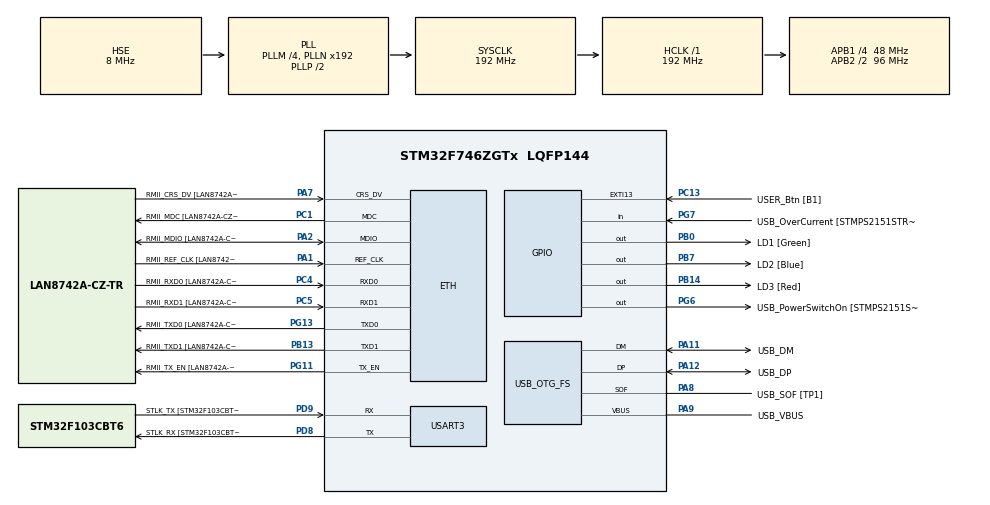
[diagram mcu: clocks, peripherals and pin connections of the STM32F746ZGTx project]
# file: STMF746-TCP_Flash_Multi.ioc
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ETH.MediaInterface=ETH_MEDIA_INTERFACE_RMII
ETH.PHY_Name=LAN8742A_PHY_ADDRESS
ETH.PHY_Value=0
ETH.PhyAddress=0
LWIP.Version=v2.1.2_Cube
Mcu.Family=STM32F7
Mcu.Name=STM32F746ZGTx
Mcu.Package=LQFP144
NVIC.PriorityGroup=NVIC_PRIORITYGROUP_4
PA1.GPIO_Label=RMII_REF_CLK [LAN8742A-CZ-TR_REFCLK0]
PA1.Mode=RMII
PA1.Signal=ETH_REF_CLK
PA10.GPIO_Label=USB_ID
PA10.Signal=USB_OTG_FS_ID
PA11.GPIO_Label=USB_DM
PA11.Mode=Device_Only
PA11.Signal=USB_OTG_FS_DM
PA12.GPIO_Label=USB_DP
PA12.Mode=Device_Only
PA12.Signal=USB_OTG_FS_DP
PA13.GPIO_Label=TMS
PA13.Mode=Serial_Wire
PA13.Signal=SYS_JTMS-SWDIO
PA14.GPIO_Label=TCK
PA14.Mode=Serial_Wire
PA14.Signal=SYS_JTCK-SWCLK
PA2.GPIO_Label=RMII_MDIO [LAN8742A-CZ-TR_MDIO]
PA2.Mode=RMII
PA2.Signal=ETH_MDIO
PA7.GPIO_Label=RMII_CRS_DV [LAN8742A-CZ-TR_CRS_DV]
PA7.Mode=RMII
PA7.Signal=ETH_CRS_DV
PA8.GPIO_Label=USB_SOF [TP1]
PA8.Mode=Activate_SOF_FS
PA8.Signal=USB_OTG_FS_SOF
PA9.GPIO_Label=USB_VBUS
PA9.Mode=Activate_VBUS
PA9.Signal=USB_OTG_FS_VBUS
PB0.GPIO_Label=LD1 [Green]
PB0.Signal=GPIO_Output
PB13.GPIO_Label=RMII_TXD1 [LAN8742A-CZ-TR_TXD1]
PB13.Mode=RMII
PB13.Signal=ETH_TXD1
PB14.GPIO_Label=LD3 [Red]
PB14.Signal=GPIO_Output
PB3.GPIO_Label=SW0
PB3.Signal=SYS_JTDO-SWO
PB7.GPIO_Label=LD2 [Blue]
PB7.Signal=GPIO_Output
PC1.GPIO_Label=RMII_MDC [LAN8742A-CZ-TR_MDC]
PC1.Mode=RMII
PC1.Signal=ETH_MDC
PC13.GPIO_Label=USER_Btn [B1]
PC13.Signal=GPXTI13
PC14/OSC32_IN.Mode=LSE-External-Oscillator
PC14/OSC32_IN.Signal=RCC_OSC32_IN
PC15/OSC32_OUT.Mode=LSE-External-Oscillator
PC15/OSC32_OUT.Signal=RCC_OSC32_OUT
PC4.GPIO_Label=RMII_RXD0 [LAN8742A-CZ-TR_RXD0]
PC4.Mode=RMII
PC4.Signal=ETH_RXD0
PC5.GPIO_Label=RMII_RXD1 [LAN8742A-CZ-TR_RXD1]
PC5.Mode=RMII
PC5.Signal=ETH_RXD1
PD8.GPIO_Label=STLK_RX [STM32F103CBT6_PA3]
PD8.Mode=Asynchronous
PD8.Signal=USART3_TX
PD9.GPIO_Label=STLK_TX [STM32F103CBT6_PA2]
PD9.Mode=Asynchronous
PD9.Signal=USART3_RX
PG11.GPIO_Label=RMII_TX_EN [LAN8742A-CZ-TR_TXEN]
PG11.Mode=RMII
PG11.Signal=ETH_TX_EN
PG13.GPIO_Label=RMII_TXD0 [LAN8742A-CZ-TR_TXD0]
PG13.Mode=RMII
PG13.Signal=ETH_TXD0
PG6.GPIO_Label=USB_PowerSwitchOn [STMPS2151STR_EN]
PG6.Signal=GPIO_Output
PG7.GPIO_Label=USB_OverCurrent [STMPS2151STR_FAULT]
PG7.Signal=GPIO_Input
PH0/OSC_IN.GPIO_Label=MCO [STM32F103CBT6_PA8]
PH0/OSC_IN.Mode=HSE-External-Clock-Source
PH0/OSC_IN.Signal=RCC_OSC_IN
PH1/OSC_OUT.Mode=HSE-External-Clock-Source
PH1/OSC_OUT.Signal=RCC_OSC_OUT
ProjectManager.HeapSize=0x200
ProjectManager.StackSize=0x400
ProjectManager.TargetToolchain=STM32CubeIDE
RCC.48MHZClocksFreq_Value=24000000
RCC.AHBFreq_Value=192000000
RCC.APB1CLKDivider=RCC_HCLK_DIV4
RCC.APB1Freq_Value=48000000
RCC.APB1TimFreq_Value=96000000
RCC.APB2CLKDivider=RCC_HCLK_DIV2
RCC.APB2Freq_Value=96000000
RCC.APB2TimFreq_Value=192000000
RCC.CortexFreq_Value=192000000
RCC.HCLKFreq_Value=192000000
RCC.HSE_VALUE=8000000
RCC.HSI_VALUE=16000000
RCC.PLLM=4
RCC.PLLMUL=RCC_PLL_MUL9
RCC.PLLQ=8
RCC.PRESCALERUSB=RCC_USBCLKSOURCE_PLL_DIV1_5
RCC.SYSCLKFreq_VALUE=192000000
RCC.SYSCLKSource=RCC_SYSCLKSOURCE_PLLCLK
RCC.SYSCLKSourceVirtual=RCC_SYSCLKSOURCE_PLLCLK
RCC.USBFreq_Value=48000000
RCC.VCOOutputFreq_Value=384000000
USART3.VirtualMode-Asynchronous=VM_ASYNC
USB_OTG_FS.VirtualMode=Device_Only
VP_LWIP_VS_Enabled.Mode=Enabled
board=NUCLEO-F746ZG

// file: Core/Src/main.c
/* USER CODE BEGIN Header */
/**
  ******************************************************************************
  * @file           : main.c
  * @brief          : Main program body
  ******************************************************************************
  * @attention
  *
  * <h2><center>&copy; Copyright (c) 2021 STMicroelectronics.
  * All rights reserved.</center></h2>
  *
  * This software component is licensed by ST under BSD 3-Clause license,
  * the "License"; You may not use this file except in compliance with the
  * License. You may obtain a copy of the License at:
  *                        opensource.org/licenses/BSD-3-Clause
  *
  ******************************************************************************
  */
/* USER CODE END Header */
#include "main.h"
#include "lwip.h"
#include "usart.h"
#include "usb_otg.h"
#include "gpio.h"

/* USER CODE BEGIN Includes */
#include "lwip/init.h"
#include "app_ethernet.h"
#include "tcp_server.h"
#include "flash_if.h"
#include "string.h"		// For memset
#include "partition_table_handler.h"
/* USER CODE END Includes */

/* USER CODE BEGIN PTD */
typedef  void (*pFunction)(void);
/* USER CODE END PTD */

/* USER CODE BEGIN PV */

/* HASH handler declaration */

struct netif gnetif;
pFunction Jump_To_Application;
uint32_t JumpAddress;

/* Partition Table Variables */
uint32_t bootAddress, backupBootLoc, bootLocation;
OTA backupBoot;
PartitionTable oldPartitionTable;

extern uint8_t startFlashOperation;
static __IO uint32_t FlashWriteAddress;
extern uint8_t dataBuffer[DATA_BUFFER_SIZE];
extern uint32_t data_len;
extern uint32_t package_count;
extern uint8_t dataMD5[16];
extern uint8_t selectedBoot;
extern PartitionTable PartitionTable2Boots;
extern OTA boot;
extern uint8_t calculatedMD5[16];

/* USER CODE END PV */

void SystemClock_Config(void);
/* USER CODE BEGIN PFP */
static void Netif_Config(void);
static void BSP_Config(void);
/* USER CODE END PFP */

int main(void)
{

  /* MCU Configuration--------------------------------------------------------*/

  /* Reset of all peripherals, Initializes the Flash interface and the Systick. */
  HAL_Init();

  /* Configure the system clock */
  SystemClock_Config();

  /* Initialize all configured peripherals */
  MX_GPIO_Init();
  MX_USART3_UART_Init();
  MX_USB_OTG_FS_PCD_Init();
  /* USER CODE BEGIN 2 */
  /* Configure Key Button */
  BSP_PB_Init(BUTTON_KEY, BUTTON_MODE_GPIO);

  /* Test if Key push-button is not pressed */
  if (BSP_PB_GetState(BUTTON_KEY) == 0x00)
  { /* Key push-button not pressed: jump to user application */
	readPartitionTableFromFlash((uint8_t*) PARTITION_TABLE_LOC, &oldPartitionTable);
	if(oldPartitionTable.selectedOTA == 0)
	{
		bootLocation 	= TABLE_BOOT0_LOC;
	}
	else if(oldPartitionTable.selectedOTA == 1)
	{
		bootLocation 	= TABLE_BOOT1_LOC;
	}

	readBootFromTable((uint8_t*) bootLocation, &boot);
	uint32_t SelectedBootAddress = boot.Address;
	/* Check if valid stack address (RAM address) then jump to user application */

	if (((*(__IO uint32_t*)SelectedBootAddress) & 0x2FF20000 ) == 0x20000000)
	// if (((*(__IO uint32_t*)SelectedBootAddress)) == 0x20050000)
	{
		if(checkBootMD5(&boot, calculatedMD5)) {
			/* Jump to user application */
			JumpAddress = *(__IO uint32_t*) (SelectedBootAddress + 4);
			Jump_To_Application = (pFunction) JumpAddress;
			/* Initialize user application's Stack Pointer */

			__disable_irq();
			__set_MSP(*(__IO uint32_t*) SelectedBootAddress);
			SCB->VTOR = SelectedBootAddress;
			__enable_irq();

			Jump_To_Application();
			/* do nothing */
			while(1);
		}
		else
		{
			/* LED3 (RED) ON to indicate bad software (when not mached MD5 Checksum) */
			BSP_LED_Init(LED3);
			BSP_LED_On(LED3);
			/* do nothing */
			while(1);
		}
	}
	else
	{/* Otherwise, do nothing */
	  /* LED3 (RED) ON to indicate bad software (when not valid stack address) */
	  BSP_LED_Init(LED3);
	  BSP_LED_On(LED3);
	  /* do nothing */
	  while(1);
	}
  } else {
	  // Enter IAP MODE
  Netif_Config();
  BSP_Config();
  ethernetif_set_link(&gnetif);
  tcp_server_init();
  User_notification(&gnetif);
  /* USER CODE END 2 */

  /* Infinite loop */
  while (1)
  {

    /* USER CODE BEGIN 3 */
	MX_LWIP_Process();

	#ifdef USE_DHCP
		/* handle periodic timers for DHCP */
		DHCP_Periodic_Handle(&gnetif);
	#endif

	if(startFlashOperation)
	{
		/* Select boot address */
		if(selectedBoot == 0)
		{
			bootAddress 	= USER_FLASH_BOOT0_ADDRESS;
			bootLocation 	= TABLE_BOOT0_LOC;
			backupBootLoc	= TABLE_BOOT1_LOC;
		}
		else if(selectedBoot == 1)
		{
			bootAddress 	= USER_FLASH_BOOT1_ADDRESS;
			bootLocation 	= TABLE_BOOT1_LOC;
			backupBootLoc	= TABLE_BOOT0_LOC;
		}

		/* Perform Write Operation */
		writeBoot2Flash(selectedBoot, bootAddress, dataBuffer, data_len);

		/* Update local boot object */
		updateBootConfiguration(&boot, selectedBoot, bootAddress, data_len, dataMD5);

		/* Update local partition table */
		updatePartitionTableConfigurations(&PartitionTable2Boots, 2, selectedBoot, selectedBoot, &boot);

		/* Retrive Other Boot Configurations Before Erase */
		readPartitionTableFromFlash((uint8_t*) PARTITION_TABLE_LOC, &oldPartitionTable);

		if(selectedBoot == 0)
		{
			readBootFromTable((uint8_t*) TABLE_BOOT1_LOC, &backupBoot);
		}
		else if(selectedBoot == 1)
		{
			readBootFromTable((uint8_t*) TABLE_BOOT0_LOC, &backupBoot);
		}

		/* Erase Partition Table (Sector 0) */
		erasePartitionTable();

		/* Write Updated Boot Object to Flash */
		writeBoot2Table(bootLocation, &boot);

		/* Write Updated Boot Object to Flash */
		writeBoot2Table(backupBootLoc, &backupBoot);

		/* Write Updated Partition Table Object to Flash */
		writePartitionTable2Flash(PARTITION_TABLE_LOC, &PartitionTable2Boots);

		/* Reset Booting Process to be able to handle many times */
		resetBootingProccess(&startFlashOperation, dataBuffer, &data_len, &package_count);

	}
  }
		  }		// END IAP
  /* USER CODE END 3 */
}

void SystemClock_Config(void)
{
  RCC_OscInitTypeDef RCC_OscInitStruct = {0};
  RCC_ClkInitTypeDef RCC_ClkInitStruct = {0};
  RCC_PeriphCLKInitTypeDef PeriphClkInitStruct = {0};

  /** Configure LSE Drive Capability
  */
  HAL_PWR_EnableBkUpAccess();
  /** Configure the main internal regulator output voltage
  */
  __HAL_RCC_PWR_CLK_ENABLE();
  __HAL_PWR_VOLTAGESCALING_CONFIG(PWR_REGULATOR_VOLTAGE_SCALE1);
  /** Initializes the RCC Oscillators according to the specified parameters
  * in the RCC_OscInitTypeDef structure.
  */
  RCC_OscInitStruct.OscillatorType = RCC_OSCILLATORTYPE_HSE;
  RCC_OscInitStruct.HSEState = RCC_HSE_BYPASS;
  RCC_OscInitStruct.PLL.PLLState = RCC_PLL_ON;
  RCC_OscInitStruct.PLL.PLLSource = RCC_PLLSOURCE_HSE;
  RCC_OscInitStruct.PLL.PLLM = 4;
  RCC_OscInitStruct.PLL.PLLN = 192;
  RCC_OscInitStruct.PLL.PLLP = RCC_PLLP_DIV2;
  RCC_OscInitStruct.PLL.PLLQ = 8;
  if (HAL_RCC_OscConfig(&RCC_OscInitStruct) != HAL_OK)
  {
    Error_Handler();
  }
  /** Activate the Over-Drive mode
  */
  if (HAL_PWREx_EnableOverDrive() != HAL_OK)
  {
    Error_Handler();
  }
  /** Initializes the CPU, AHB and APB buses clocks
  */
  RCC_ClkInitStruct.ClockType = RCC_CLOCKTYPE_HCLK|RCC_CLOCKTYPE_SYSCLK
                              |RCC_CLOCKTYPE_PCLK1|RCC_CLOCKTYPE_PCLK2;
  RCC_ClkInitStruct.SYSCLKSource = RCC_SYSCLKSOURCE_PLLCLK;
  RCC_ClkInitStruct.AHBCLKDivider = RCC_SYSCLK_DIV1;
  RCC_ClkInitStruct.APB1CLKDivider = RCC_HCLK_DIV4;
  RCC_ClkInitStruct.APB2CLKDivider = RCC_HCLK_DIV2;

  if (HAL_RCC_ClockConfig(&RCC_ClkInitStruct, FLASH_LATENCY_6) != HAL_OK)
  {
    Error_Handler();
  }
  PeriphClkInitStruct.PeriphClockSelection = RCC_PERIPHCLK_USART3|RCC_PERIPHCLK_CLK48;
  PeriphClkInitStruct.Usart3ClockSelection = RCC_USART3CLKSOURCE_PCLK1;
  PeriphClkInitStruct.Clk48ClockSelection = RCC_CLK48SOURCE_PLL;
  if (HAL_RCCEx_PeriphCLKConfig(&PeriphClkInitStruct) != HAL_OK)
  {
    Error_Handler();
  }
}

/* USER CODE BEGIN 4 */
static void BSP_Config(void)
{

  /* Configure LED1, LED2, LED3 */
  BSP_LED_Init(LED1);
  BSP_LED_Init(LED2);
  BSP_LED_Init(LED3);

  /* Set Systick Interrupt to the highest priority */
  HAL_NVIC_SetPriority(SysTick_IRQn, 0x0, 0x0);
}

/**
  * @brief  Setup the network interface
  * @param  None
  * @retval None
  */
static void Netif_Config(void)
{
  /* Initilialize the LwIP stack without RTOS */
  lwip_init();

  /* IP addresses initialization with DHCP (IPv4) */
  ip4_addr_t ipaddr;
  ip4_addr_t netmask;
  ip4_addr_t gw;

#ifdef USE_DHCP
  ip_addr_set_zero_ip4(&ipaddr);
  ip_addr_set_zero_ip4(&netmask);
  ip_addr_set_zero_ip4(&gw);
#else
  IP_ADDR4(&ipaddr,IP_ADDR0,IP_ADDR1,IP_ADDR2,IP_ADDR3);
  IP_ADDR4(&netmask,NETMASK_ADDR0,NETMASK_ADDR1,NETMASK_ADDR2,NETMASK_ADDR3);
  IP_ADDR4(&gw,GW_ADDR0,GW_ADDR1,GW_ADDR2,GW_ADDR3);
#endif /* USE_DHCP */

  /* add the network interface */
  netif_add(&gnetif, &ipaddr, &netmask, &gw, NULL, &ethernetif_init, &ethernet_input);

  /*  Registers the default network interface */
  netif_set_default(&gnetif);

  if (netif_is_link_up(&gnetif))
  {
    /* When the netif is fully configured this function must be called */
    netif_set_up(&gnetif);
  }
  else
  {
    /* When the netif link is down this function must be called */
    netif_set_down(&gnetif);
  }

  /* Set the link callback function, this function is called on change of link status*/
  netif_set_link_callback(&gnetif, ethernetif_update_config);

	#ifdef USE_DHCP
  	  /* Start DHCP negotiation for a network interface (IPv4) */
    dhcp_start(&gnetif);
	#endif
}
/* USER CODE END 4 */

void Error_Handler(void)
{
  __disable_irq();
  while (1)
  {
  }
}

/************************ (C) COPYRIGHT STMicroelectronics *****END OF FILE****/
